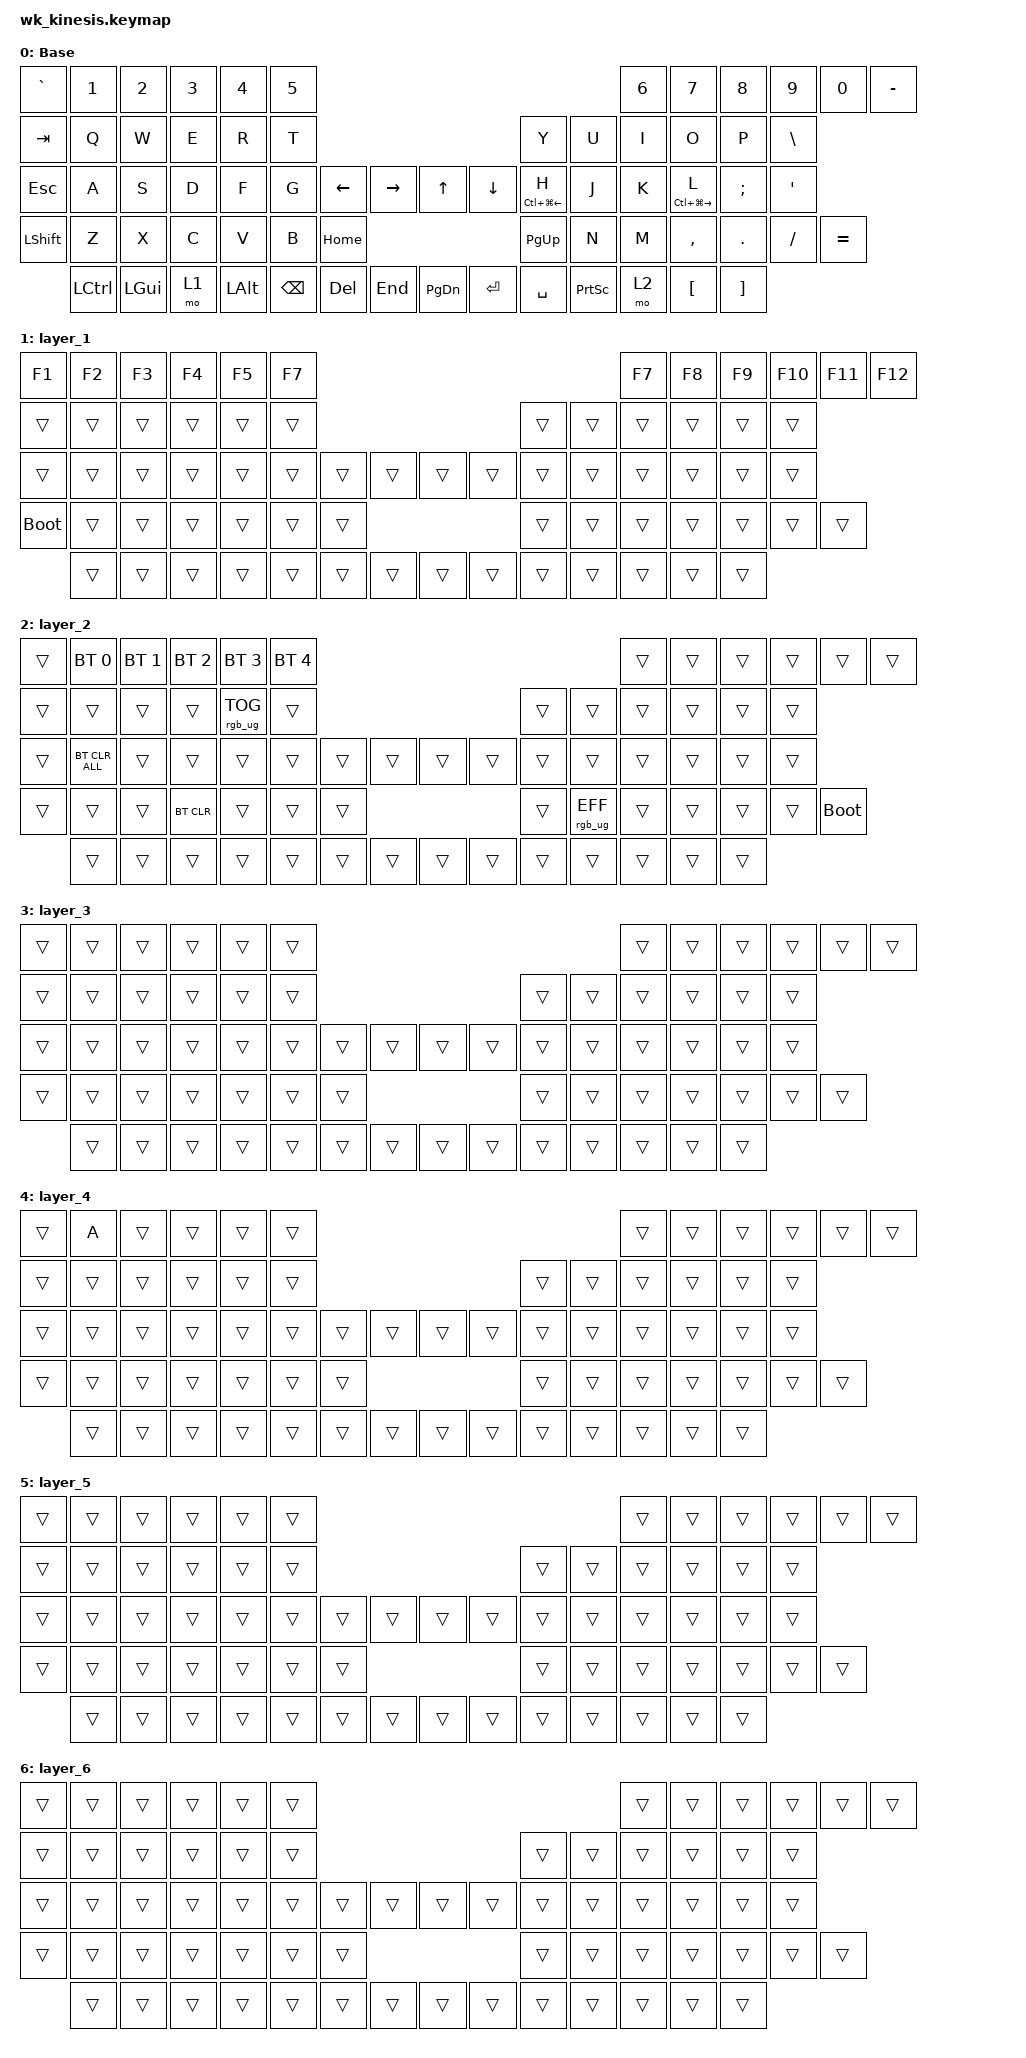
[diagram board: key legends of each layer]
#include <behaviors.dtsi>
#include <dt-bindings/zmk/bt.h>
#include <dt-bindings/zmk/keys.h>
#include <dt-bindings/zmk/pointing.h>
#include <dt-bindings/zmk/rgb.h>

/ {
    behaviors {
        hm: homerow_mods {
            compatible = "zmk,behavior-hold-tap";
            #binding-cells = <2>;
            tapping-term-ms = <200>;
            quick-tap-ms = <175>;
            flavor = "tap-preferred";
            bindings = <&kp>, <&kp>;
        };
    };

    keymap {
        compatible = "zmk,keymap";

        default_layer {
    display-name = "Base";
    bindings = <
        &kp GRAVE      &kp N1     &kp N2    &kp N3       &kp N4    &kp N5                                                                       &kp N6  &kp N7  &kp N8  &kp N9      &kp N0     &kp MINUS
        &kp TAB        &kp Q      &kp W     &kp E        &kp R     &kp T                                                                        &kp Y   &kp U   &kp I   &kp O       &kp P      &kp BSLH
        &kp ESC        &kp A      &kp S     &kp D        &kp F     &kp G              &kp LEFT &kp RIGHT          &kp UP  &kp DOWN             &hm LC(LG(LEFT)) H  &kp J   &kp K   &hm LC(LG(RIGHT)) L     &kp SEMI  &kp SQT
        &kp LSHFT      &kp Z      &kp X     &kp C        &kp V     &kp B                       &kp HOME        &kp PG_UP                           &kp N   &kp M   &kp COMMA   &kp DOT   &kp FSLH  &kp EQUAL
                       &kp LCTRL    &kp LGUI  &mo 1    &kp LALT            &kp BSPC  &kp DEL  &kp END         &kp PG_DN  &kp RET  &kp SPC             &kp PSCRN  &mo 2  &kp LBKT  &kp RBKT
    >;
};


        layer_1 {
            bindings = <
&kp F1   &kp F2  &kp F3   &kp F4   &kp F5   &kp F7                                                       &kp F7   &kp F8   &kp F9   &kp F10   &kp F11   &kp F12
&trans  &trans  &trans  &trans  &trans  &trans                                                      &trans  &trans  &trans  &trans  &trans  &trans
&trans  &trans  &trans  &trans  &trans  &trans          &trans  &trans      &trans  &trans          &trans  &trans  &trans  &trans  &trans  &trans
&bootloader  &trans  &trans  &trans  &trans  &trans                  &trans      &trans                  &trans  &trans  &trans  &trans  &trans  &trans
        &trans  &trans  &trans  &trans          &trans  &trans  &trans      &trans  &trans  &trans          &trans  &trans  &trans  &trans
            >;
        };

        layer_2 {
            bindings = <
&trans  &bt BT_SEL 0    &bt BT_SEL 1  &bt BT_SEL 2  &bt BT_SEL 3     &bt BT_SEL 4                                                      &trans           &trans  &trans  &trans  &trans  &trans
&trans  &trans          &trans        &trans        &rgb_ug RGB_TOG  &trans                                                            &trans           &trans  &trans  &trans  &trans  &trans
&trans  &bt BT_CLR_ALL  &trans        &trans        &trans           &trans                &trans  &trans      &trans  &trans          &trans           &trans  &trans  &trans  &trans  &trans
&trans  &trans          &trans        &bt BT_CLR    &trans           &trans                        &trans      &trans                  &rgb_ug RGB_EFF  &trans  &trans  &trans  &trans  &bootloader
        &trans          &trans        &trans        &trans                         &trans  &trans  &trans      &trans  &trans  &trans                   &trans  &trans  &trans  &trans
            >;
        };

        layer_3 {
            bindings = <
&trans  &trans  &trans  &trans  &trans  &trans                                                      &trans  &trans  &trans  &trans  &trans  &trans
&trans  &trans  &trans  &trans  &trans  &trans                                                      &trans  &trans  &trans  &trans  &trans  &trans
&trans  &trans  &trans  &trans  &trans  &trans          &trans  &trans      &trans  &trans          &trans  &trans  &trans  &trans  &trans  &trans
&trans  &trans  &trans  &trans  &trans  &trans                  &trans      &trans                  &trans  &trans  &trans  &trans  &trans  &trans
        &trans  &trans  &trans  &trans          &trans  &trans  &trans      &trans  &trans  &trans          &trans  &trans  &trans  &trans
            >;
        };

        layer_4 {
            bindings = <
&trans  &kp A   &trans  &trans  &trans  &trans                                                      &trans  &trans  &trans  &trans  &trans  &trans
&trans  &trans  &trans  &trans  &trans  &trans                                                      &trans  &trans  &trans  &trans  &trans  &trans
&trans  &trans  &trans  &trans  &trans  &trans          &trans  &trans      &trans  &trans          &trans  &trans  &trans  &trans  &trans  &trans
&trans  &trans  &trans  &trans  &trans  &trans                  &trans      &trans                  &trans  &trans  &trans  &trans  &trans  &trans
        &trans  &trans  &trans  &trans          &trans  &trans  &trans      &trans  &trans  &trans          &trans  &trans  &trans  &trans
            >;
        };

        layer_5 {
            bindings = <
&trans  &trans  &trans  &trans  &trans  &trans                                                      &trans  &trans  &trans  &trans  &trans  &trans
&trans  &trans  &trans  &trans  &trans  &trans                                                      &trans  &trans  &trans  &trans  &trans  &trans
&trans  &trans  &trans  &trans  &trans  &trans          &trans  &trans      &trans  &trans          &trans  &trans  &trans  &trans  &trans  &trans
&trans  &trans  &trans  &trans  &trans  &trans                  &trans      &trans                  &trans  &trans  &trans  &trans  &trans  &trans
        &trans  &trans  &trans  &trans          &trans  &trans  &trans      &trans  &trans  &trans          &trans  &trans  &trans  &trans
            >;
        };

        layer_6 {
            bindings = <
&trans  &trans  &trans  &trans  &trans  &trans                                                      &trans  &trans  &trans  &trans  &trans  &trans
&trans  &trans  &trans  &trans  &trans  &trans                                                      &trans  &trans  &trans  &trans  &trans  &trans
&trans  &trans  &trans  &trans  &trans  &trans          &trans  &trans      &trans  &trans          &trans  &trans  &trans  &trans  &trans  &trans
&trans  &trans  &trans  &trans  &trans  &trans                  &trans      &trans                  &trans  &trans  &trans  &trans  &trans  &trans
        &trans  &trans  &trans  &trans          &trans  &trans  &trans      &trans  &trans  &trans          &trans  &trans  &trans  &trans
            >;
        };
    };
};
